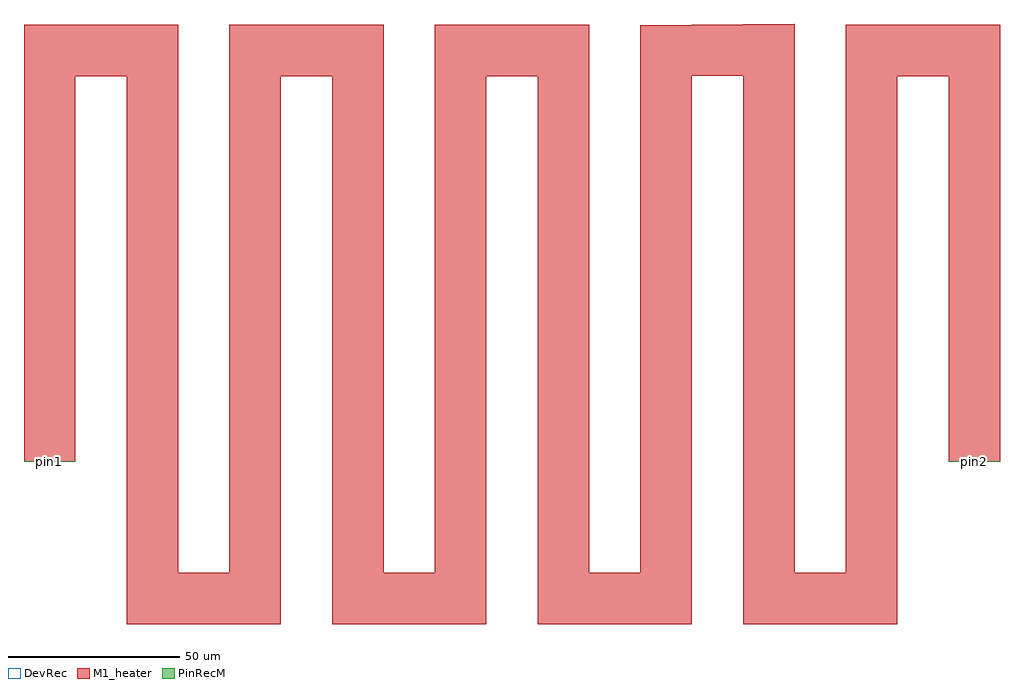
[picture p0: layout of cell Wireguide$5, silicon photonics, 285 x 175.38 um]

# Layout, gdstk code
import gdstk
lib = gdstk.Library(unit=1e-6, precision=1e-09)
PinRecM = (1, 11)
M1_heater = (11, 0)
DevRec = (68, 0)

wireguide_5 = lib.new_cell('Wireguide$5')
wireguide_5.add(gdstk.FlexPath([(-160,-100),(-160,20),(-130,20),(-130,-140),(-100,-140),(-100,20),(-70,20.003),(-70,-140),(-40,-140),(-40,20),(-10,20),(-10,-140),(20,-140),(20,20),(50,20.3),(50,-140),(80,-140),(80,20),(110,20),(110,-100)], 15, ends="flush", simple_path=True, layer=68, datatype=0))  # DevRec
wireguide_5.add(gdstk.FlexPath([(-160,-99.95),(-160,-100.05)], 15, ends="flush", simple_path=True, layer=1, datatype=11))  # PinRecM
wireguide_5.add(gdstk.FlexPath([(110,-99.95),(110,-100.05)], 15, ends="flush", simple_path=True, layer=1, datatype=11))  # PinRecM
wireguide_5.add(gdstk.FlexPath([(-160,-100),(-160,20),(-130,20),(-130,-140),(-100,-140),(-100,20),(-70,20.003),(-70,-140),(-40,-140),(-40,20),(-10,20),(-10,-140),(20,-140),(20,20),(50,20.3),(50,-140),(80,-140),(80,20),(110,20),(110,-100)], 15, ends="flush", simple_path=True, layer=11, datatype=0))  # M1_heater
wireguide_5.add(gdstk.Label('pin1', (-160,-100), layer=1, texttype=11))
wireguide_5.add(gdstk.Label('pin2', (110,-100), layer=1, texttype=11))

lib.write_gds('Wireguide_5.gds')
